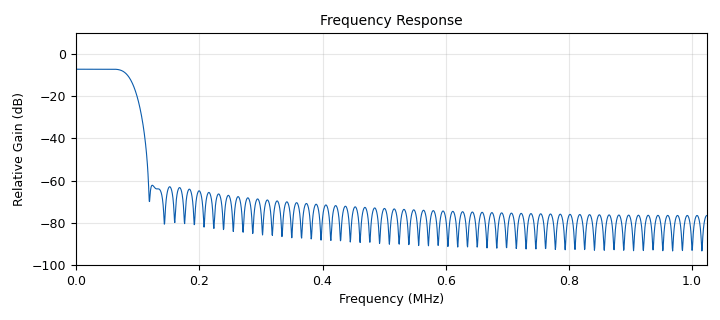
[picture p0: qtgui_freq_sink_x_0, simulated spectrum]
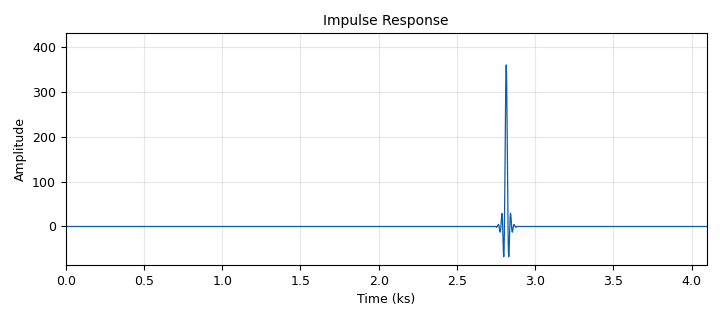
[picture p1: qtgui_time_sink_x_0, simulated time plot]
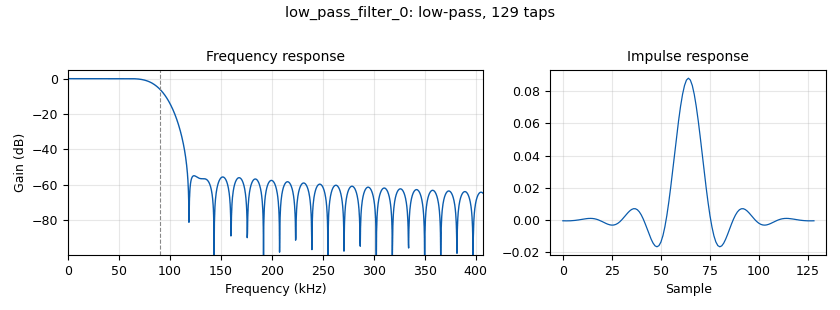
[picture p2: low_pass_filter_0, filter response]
options:
  parameters:
    author: Gary Schafer
    generate_options: qt_gui
    id: filter_impulse_response
    output_language: python
    title: Filter Impulse Response - Complex Signals
  states: {}

blocks:
- name: N
  id: variable
  parameters:
    value: 2**12
  states: {}
- name: cutoff_freq
  id: variable
  parameters:
    value: 90e3
  states: {}
- name: samp_rate
  id: variable
  parameters:
    value: 2.048e6
  states: {}
- name: sinc_max
  id: variable
  parameters:
    comment: |-
      Used to set time sink limits
      -------------------------------------
      Value: 2.4*N*cutoff_freq/samp_rate
    value: 2.4*N*cutoff_freq/samp_rate
  states: {}
- name: trans_width
  id: variable
  parameters:
    value: 38e3
  states: {}
- name: blocks_throttle_0
  id: blocks_throttle
  parameters:
    samples_per_second: samp_rate
    type: float
  states: {}
- name: blocks_vector_source_x_0
  id: blocks_vector_source_x
  parameters:
    comment: |-
      Impulse generator
      --------------------------
      Vector: [0,]*int(N/2-1)+[1,]+[0,]*int(N/2)
    repeat: 'True'
    type: float
    vector: '[0,]*int(N/2-1)+[N,]+[0,]*int(N/2)'
  states: {}
- name: low_pass_filter_0
  id: low_pass_filter
  parameters:
    cutoff_freq: cutoff_freq
    decim: '1'
    gain: '1'
    samp_rate: samp_rate
    type: fir_filter_fff
    width: trans_width
    win: window.WIN_HAMMING
  states: {}
- name: myTabs
  id: qtgui_tab_widget
  parameters:
    gui_hint: 0,0,20,20
    label0: Impulse Response
    label1: Frequency Response
    num_tabs: '2'
  states: {}
- name: qtgui_freq_sink_x_0
  id: qtgui_freq_sink_x
  parameters:
    bw: samp_rate
    color1: '"black"'
    fc: '0'
    fftsize: N
    freqhalf: 'False'
    grid: 'True'
    gui_hint: myTabs@1
    label1: Low Pass Filter
    legend: 'False'
    name: Frequency Response
    type: float
    width1: '2'
    ymin: '-100'
  states: {}
- name: qtgui_time_sink_x_0
  id: qtgui_time_sink_x
  parameters:
    color1: black
    grid: 'True'
    gui_hint: myTabs@0
    label1: Low Pass Filter - Real
    legend: 'False'
    name: Impulse Response
    size: N
    srate: '1'
    type: float
    ymax: sinc_max
    ymin: '-sinc_max/5'
  states: {}

connections:
- [blocks_throttle_0, '0', low_pass_filter_0, '0']
- [blocks_vector_source_x_0, '0', blocks_throttle_0, '0']
- [low_pass_filter_0, '0', qtgui_freq_sink_x_0, '0']
- [low_pass_filter_0, '0', qtgui_time_sink_x_0, '0']

metadata:
  file_format: 1
  grc_version: 3.10.9.2
